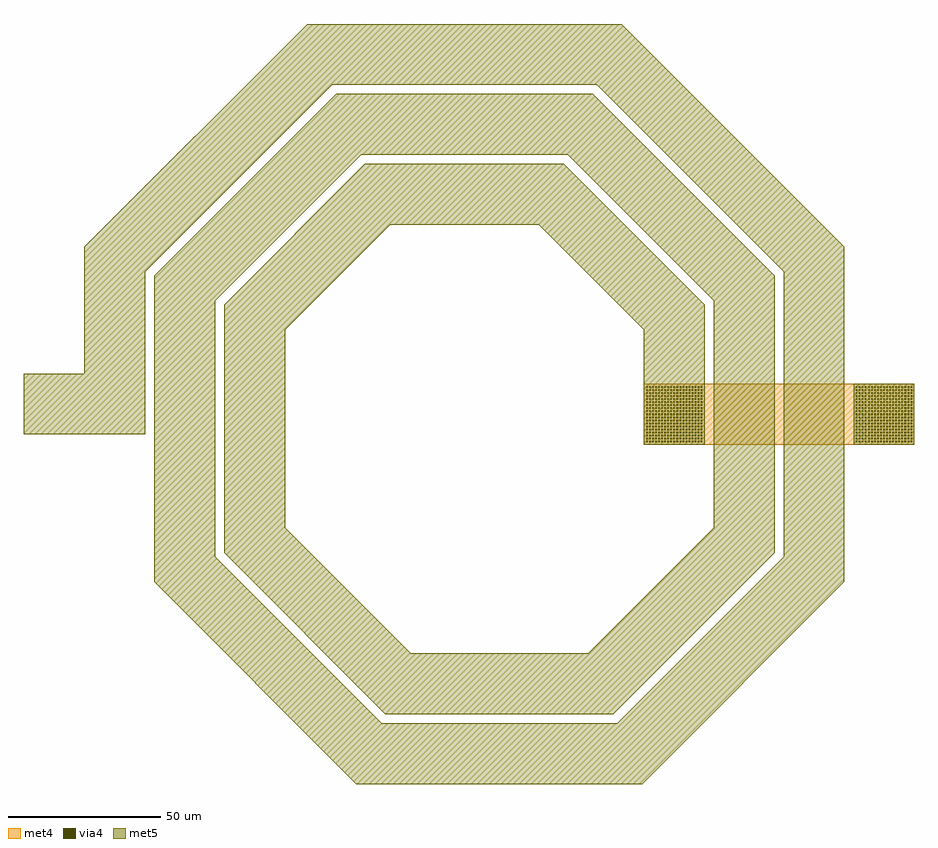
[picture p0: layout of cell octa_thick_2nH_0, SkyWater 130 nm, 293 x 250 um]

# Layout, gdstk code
import gdstk
lib = gdstk.Library(unit=1e-6, precision=1e-09)
def R(c, l, rs):  # rectangles x0, y0, x1, y1
    for r in rs: c.add(gdstk.rectangle(r[:2], r[2:], *l))
def A(c, l, x, y, w, h, nx, ny, dx, dy):  # array of equal rectangles
    R(c, l, [(x+i*dx, y+j*dy, x+i*dx+w, y+j*dy+h) for i in range(nx) for j in range(ny)])
def P(c, l, *ps):  # polygons
    for p in ps: c.add(gdstk.Polygon(p, *l))
met4 = (71, 20)
via4 = (71, 44)
met5 = (72, 20)

octa_thick_2nh_0 = lib.new_cell('octa_thick_2nH_0')
R(octa_thick_2nh_0, met4, [(47.5,-13.37,136.5,6.63), (47.5,-13.37,67.5,6.63), (116.5,-13.37,136.5,6.63)])
A(octa_thick_2nh_0, via4, 48.25, -12.62, 0.5, 0.5, 19, 19, 1, 1)
A(octa_thick_2nh_0, via4, 117.25, -12.62, 0.5, 0.5, 19, 19, 1, 1)
R(octa_thick_2nh_0, met5, [(47.5,-13.37,67.5,6.63), (116.5,-13.37,136.5,6.63), (-156.5,-10,-116.5,10)])
P(octa_thick_2nh_0, met5, [(47.5,-13.37),(47.5,24.44),(12.94,59),(-35.94,59),(-70.5,24.44),(-70.5,-40.7),(-29.2,-82),(29.2,-82),(70.5,-40.7),(70.5,33.965),(22.465,82),(-45.465,82),(-93.5,33.965),(-93.5,-50.23),(-38.73,-105),(38.73,-105),(93.5,-50.23),(93.5,43.49),(31.99,105),(-54.99,105),(-116.5,43.49),(-116.5,-10),(-136.5,-10),(-136.5,51.775),(-63.275,125),(40.275,125),(113.5,51.775),(113.5,-58.515),(47.015,-125),(-47.015,-125),(-113.5,-58.515),(-113.5,42.25),(-53.75,102),(30.75,102),(90.5,42.25),(90.5,-48.985),(37.485,-102),(-37.485,-102),(-90.5,-48.985),(-90.5,32.725),(-44.225,79),(21.225,79),(67.5,32.725),(67.5,-13.37)])

lib.write_gds('octa_thick_2nH_0.gds')
